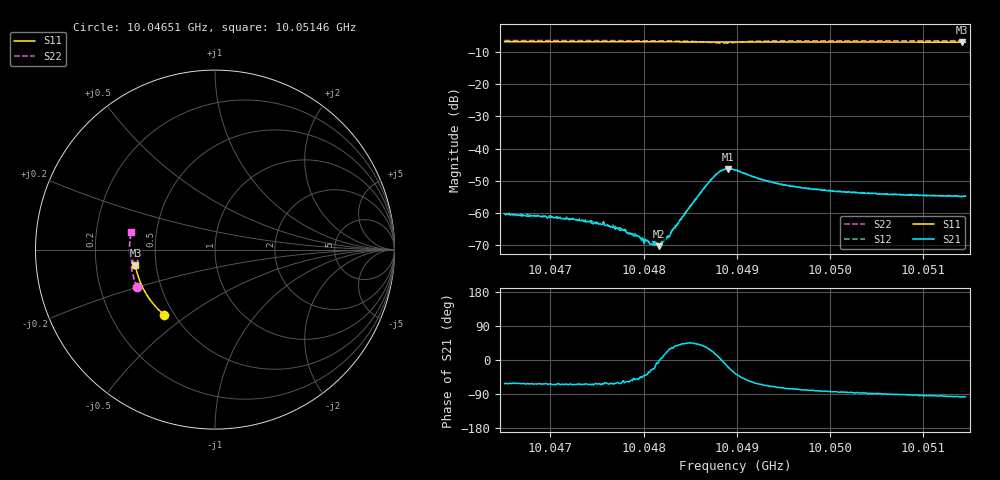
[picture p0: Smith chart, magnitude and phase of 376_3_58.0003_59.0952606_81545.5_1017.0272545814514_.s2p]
#  HZ  S  RI  R  50.00
! Rohde & Schwarz Vector Network Analyzer
! Rohde-Schwarz,ZNB20-2Port,1311601062101988,3.16
! Created: UTC 3/21/2024, 1:07:08 AM
! freq[Hz]  re:S11  im:S11  re:S21  im:S21  re:S12  im:S12  re:S22  im:S22
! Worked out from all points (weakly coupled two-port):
!   401 points, 10.04651 GHz to 10.05146 GHz, reference 50 ohm
!   highest |S21| = -46.36 dB at 10.04891 GHz (marker M1); lowest = -70.4 dB at 10.04817 GHz (marker M2)
!   lowest |S11| = -6.9 dB at 10.05142 GHz (marker M3), VSWR 2.65, Z = 19 - j4.28 ohm
!   |S11| at or under -10 dB: nowhere
!   |S22| runs from -7.2 to -6.4 dB; largest |S21 - S12| = 0.00036
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1.0046507e10  -0.284 -0.3628  0.000449 -0.000857  0.000499 -0.000805  -0.4332 -0.2086
1.0046879e10  -0.3023 -0.3466  0.000408 -0.000787  0.000463 -0.000792  -0.4427 -0.1857
1.0047336e10  -0.3238 -0.3252  0.000338 -0.000692  0.000352 -0.000665  -0.4531 -0.156
1.0047596e10  -0.3354 -0.3126  0.000314 -0.000551  0.000354 -0.000551  -0.458 -0.1386
1.004772e10  -0.3406 -0.3063  0.000291 -0.000492  0.000332 -0.000501  -0.4599 -0.1302
1.0047856e10  -0.3464 -0.2993  0.000276 -0.000396  0.0003 -0.000357  -0.462 -0.1202
1.0047918e10  -0.3489 -0.2961  0.000284 -0.000345  0.000303 -0.000309  -0.4628 -0.116
1.004798e10  -0.3514 -0.293  0.000257 -0.000272  0.000309 -0.000258  -0.4634 -0.1113
1.0048042e10  -0.3539 -0.2898  0.000292 -0.000228  0.000315 -0.000174  -0.4641 -0.1067
1.0048079e10  -0.3554 -0.2878  0.000293 -0.000145  0.000318 -0.000138  -0.4646 -0.1039
1.0048165e10  -0.3587 -0.2833  0.000301 -1.36e-05  0.000324 -8.32e-06  -0.4652 -0.0971
1.0048264e10  -0.3627 -0.2782  0.000376 0.000169  0.000383 0.000204  -0.4654 -0.0889
1.0048611e10  -0.3755 -0.2591  0.00157 0.00132  0.00147 0.00141  -0.4558 -0.0574
1.0048747e10  -0.3802 -0.2516  0.00329 0.00128  0.00324 0.00148  -0.4401 -0.0513
1.0048834e10  -0.383 -0.2468  0.0045 6.65e-05  0.00451 0.000356  -0.431 -0.0591
1.0048908e10  -0.3855 -0.2428  0.00455 -0.00155  0.00469 -0.00127  -0.4328 -0.0696
1.0048982e10  -0.3879 -0.2387  0.00378 -0.00263  0.00398 -0.00242  -0.4422 -0.0747
1.0049378e10  -0.4006 -0.216  0.00103 -0.00281  0.00118 -0.00275  -0.4708 -0.0464
1.0049811e10  -0.4128 -0.1901  0.000421 -0.00226  0.000552 -0.00231  -0.476 -0.0124
1.005064e10  -0.4314 -0.139  -8.63e-06 -0.00194  0.000106 -0.00194  -0.4745 0.0456
1.005142e10  -0.443 -0.0894  -0.000245 -0.00178  -0.000128 -0.00178  -0.4663 0.0973
1.0051457e10  -0.4436 -0.0871  -0.00023 -0.00181  -0.000163 -0.00181  -0.4657 0.0996
